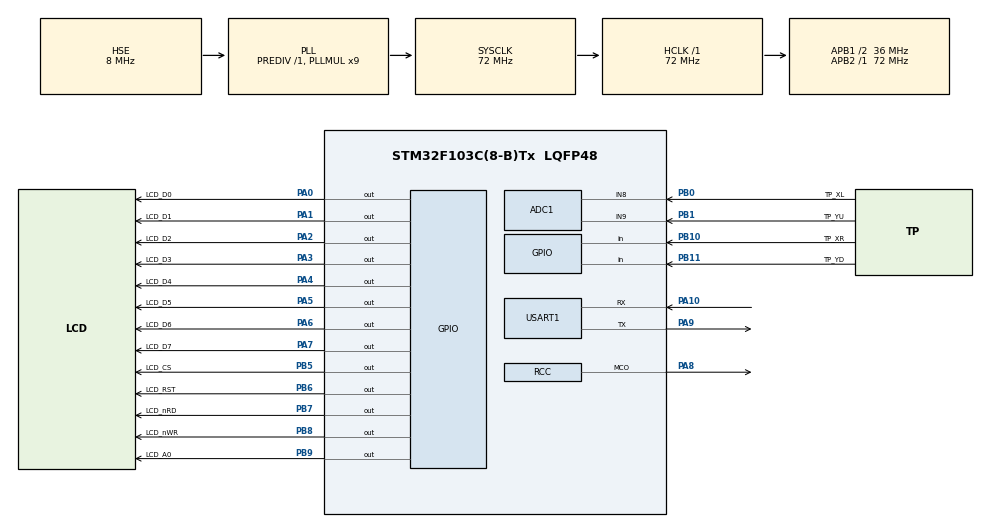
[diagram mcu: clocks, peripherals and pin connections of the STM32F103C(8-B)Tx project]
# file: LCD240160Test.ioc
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ADC1.Channel-6\#ChannelRegularConversion=ADC_CHANNEL_8
ADC1.Channel-7\#ChannelRegularConversion=ADC_CHANNEL_9
ADC1.ContinuousConvMode=ENABLE
ADC1.InjNumberOfConversion=0
ADC1.NbrOfConversion=2
ADC1.NbrOfConversionFlag=1
ADC1.Rank-6\#ChannelRegularConversion=1
ADC1.Rank-7\#ChannelRegularConversion=2
ADC1.SamplingTime-6\#ChannelRegularConversion=ADC_SAMPLETIME_239CYCLES_5
ADC1.SamplingTime-7\#ChannelRegularConversion=ADC_SAMPLETIME_239CYCLES_5
ADC1.master=1
Dma.ADC1.0.Direction=DMA_PERIPH_TO_MEMORY
Dma.ADC1.0.Instance=DMA1_Channel1
Dma.ADC1.0.MemDataAlignment=DMA_MDATAALIGN_HALFWORD
Dma.ADC1.0.MemInc=DMA_MINC_ENABLE
Dma.ADC1.0.Mode=DMA_CIRCULAR
Dma.ADC1.0.PeriphDataAlignment=DMA_PDATAALIGN_HALFWORD
Dma.ADC1.0.PeriphInc=DMA_PINC_DISABLE
Dma.ADC1.0.Priority=DMA_PRIORITY_LOW
Dma.Request0=ADC1
Mcu.Family=STM32F1
Mcu.Name=STM32F103C(8-B)Tx
Mcu.Package=LQFP48
NVIC.DMA1_Channel1_IRQn=true\:0\:0\:false\:false\:true\:false
NVIC.PriorityGroup=NVIC_PRIORITYGROUP_4
PA0-WKUP.GPIO_Label=LCD_D0
PA0-WKUP.GPIO_Speed=GPIO_SPEED_FREQ_HIGH
PA0-WKUP.Signal=GPIO_Output
PA1.GPIO_Label=LCD_D1
PA1.GPIO_Speed=GPIO_SPEED_FREQ_HIGH
PA1.Signal=GPIO_Output
PA10.Mode=Asynchronous
PA10.Signal=USART1_RX
PA13.Mode=Serial_Wire
PA13.Signal=SYS_JTMS-SWDIO
PA14.Mode=Serial_Wire
PA14.Signal=SYS_JTCK-SWCLK
PA2.GPIO_Label=LCD_D2
PA2.GPIO_Speed=GPIO_SPEED_FREQ_HIGH
PA2.Signal=GPIO_Output
PA3.GPIO_Label=LCD_D3
PA3.GPIO_Speed=GPIO_SPEED_FREQ_HIGH
PA3.Signal=GPIO_Output
PA4.GPIO_Label=LCD_D4
PA4.GPIO_Speed=GPIO_SPEED_FREQ_HIGH
PA4.Signal=GPIO_Output
PA5.GPIO_Label=LCD_D5
PA5.GPIO_Speed=GPIO_SPEED_FREQ_HIGH
PA5.Signal=GPIO_Output
PA6.GPIO_Label=LCD_D6
PA6.GPIO_Speed=GPIO_SPEED_FREQ_HIGH
PA6.Signal=GPIO_Output
PA7.GPIO_Label=LCD_D7
PA7.GPIO_Speed=GPIO_SPEED_FREQ_HIGH
PA7.Signal=GPIO_Output
PA8.Mode=Clock-out
PA8.Signal=RCC_MCO
PA9.Mode=Asynchronous
PA9.Signal=USART1_TX
PB0.GPIO_Label=TP_XL
PB0.Signal=SharedAnalog_PB0
PB1.GPIO_Label=TP_YU
PB1.Signal=SharedAnalog_PB1
PB10.GPIO_Label=TP_XR
PB10.Signal=GPIO_Input
PB11.GPIO_Label=TP_YD
PB11.Signal=GPIO_Input
PB5.GPIO_Label=LCD_CS
PB5.GPIO_Speed=GPIO_SPEED_FREQ_HIGH
PB5.Signal=GPIO_Output
PB6.GPIO_Label=LCD_RST
PB6.GPIO_Speed=GPIO_SPEED_FREQ_HIGH
PB6.Signal=GPIO_Output
PB7.GPIO_Label=LCD_nRD
PB7.GPIO_Speed=GPIO_SPEED_FREQ_HIGH
PB7.Signal=GPIO_Output
PB8.GPIO_Label=LCD_nWR
PB8.GPIO_Speed=GPIO_SPEED_FREQ_HIGH
PB8.Signal=GPIO_Output
PB9.GPIO_Label=LCD_A0
PB9.GPIO_Speed=GPIO_SPEED_FREQ_HIGH
PB9.Signal=GPIO_Output
PC14-OSC32_IN.Mode=LSE-External-Oscillator
PC14-OSC32_IN.Signal=RCC_OSC32_IN
PC15-OSC32_OUT.Mode=LSE-External-Oscillator
PC15-OSC32_OUT.Signal=RCC_OSC32_OUT
PD0-OSC_IN.Mode=HSE-External-Oscillator
PD0-OSC_IN.Signal=RCC_OSC_IN
PD1-OSC_OUT.Mode=HSE-External-Oscillator
PD1-OSC_OUT.Signal=RCC_OSC_OUT
ProjectManager.HeapSize=0x200
ProjectManager.StackSize=0x400
ProjectManager.TargetToolchain=TrueSTUDIO
RCC.ADCPresc=RCC_ADCPCLK2_DIV6
RCC.AHBFreq_Value=72000000
RCC.APB1CLKDivider=RCC_HCLK_DIV2
RCC.APB1Freq_Value=36000000
RCC.APB1TimFreq_Value=72000000
RCC.APB2Freq_Value=72000000
RCC.APB2TimFreq_Value=72000000
RCC.HCLKFreq_Value=72000000
RCC.PLLMUL=RCC_PLL_MUL9
RCC.PLLSourceVirtual=RCC_PLLSOURCE_HSE
RCC.RCC_MCOSource=RCC_MCO1SOURCE_PLLCLK
RCC.SYSCLKFreq_VALUE=72000000
RCC.SYSCLKSource=RCC_SYSCLKSOURCE_PLLCLK
RCC.USBFreq_Value=72000000
SH.SharedAnalog_PB0.0=GPIO_Analog
SH.SharedAnalog_PB0.1=ADC1_IN8,IN8
SH.SharedAnalog_PB1.0=GPIO_Analog
SH.SharedAnalog_PB1.1=ADC1_IN9,IN9
USART1.VirtualMode=VM_ASYNC
board=custom

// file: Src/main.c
/* USER CODE BEGIN Header */
/**
  ******************************************************************************
  * @file           : main.c
  * @brief          : Main program body
  ******************************************************************************
  ** This notice applies to any and all portions of this file
  * that are not between comment pairs USER CODE BEGIN and
  * USER CODE END. Other portions of this file, whether
  * inserted by the user or by software development tools
  * are owned by their respective copyright owners.
  *
  * COPYRIGHT(c) 2018 STMicroelectronics
  *
  * Redistribution and use in source and binary forms, with or without modification,
  * are permitted provided that the following conditions are met:
  *   1. Redistributions of source code must retain the above copyright notice,
  *      this list of conditions and the following disclaimer.
  *   2. Redistributions in binary form must reproduce the above copyright notice,
  *      this list of conditions and the following disclaimer in the documentation
  *      and/or other materials provided with the distribution.
  *   3. Neither the name of STMicroelectronics nor the names of its contributors
  *      may be used to endorse or promote products derived from this software
  *      without specific prior written permission.
  *
  * THIS SOFTWARE IS PROVIDED BY THE COPYRIGHT HOLDERS AND CONTRIBUTORS "AS IS"
  * AND ANY EXPRESS OR IMPLIED WARRANTIES, INCLUDING, BUT NOT LIMITED TO, THE
  * IMPLIED WARRANTIES OF MERCHANTABILITY AND FITNESS FOR A PARTICULAR PURPOSE ARE
  * DISCLAIMED. IN NO EVENT SHALL THE COPYRIGHT HOLDER OR CONTRIBUTORS BE LIABLE
  * FOR ANY DIRECT, INDIRECT, INCIDENTAL, SPECIAL, EXEMPLARY, OR CONSEQUENTIAL
  * DAMAGES (INCLUDING, BUT NOT LIMITED TO, PROCUREMENT OF SUBSTITUTE GOODS OR
  * SERVICES; LOSS OF USE, DATA, OR PROFITS; OR BUSINESS INTERRUPTION) HOWEVER
  * CAUSED AND ON ANY THEORY OF LIABILITY, WHETHER IN CONTRACT, STRICT LIABILITY,
  * OR TORT (INCLUDING NEGLIGENCE OR OTHERWISE) ARISING IN ANY WAY OUT OF THE USE
  * OF THIS SOFTWARE, EVEN IF ADVISED OF THE POSSIBILITY OF SUCH DAMAGE.
  *
  ******************************************************************************
  */
/* USER CODE END Header */

#include "main.h"

/* USER CODE BEGIN Includes */

#include <stdio.h>

#include "lcd.h"
#include "touchpad.h"
#include "UI/UI.h"
#include "graphics.h"

/* USER CODE END Includes */

ADC_HandleTypeDef hadc1;
DMA_HandleTypeDef hdma_adc1;

UART_HandleTypeDef huart1;

void SystemClock_Config(void);
static void MX_GPIO_Init(void);
static void MX_DMA_Init(void);
static void MX_ADC1_Init(void);
static void MX_USART1_UART_Init(void);

int main(void)
{

  /* MCU Configuration--------------------------------------------------------*/

  /* Reset of all peripherals, Initializes the Flash interface and the Systick. */
  HAL_Init();

  /* Configure the system clock */
  SystemClock_Config();

  /* Initialize all configured peripherals */
  MX_GPIO_Init();
  MX_DMA_Init();
  MX_ADC1_Init();
  MX_USART1_UART_Init();
  /* USER CODE BEGIN 2 */

    LCD_Init();

//    LCD_DrawTestPattern();

    //  LCD_SetAddress(0, 0);
    //  LCD_WriteDisplayData(0b11100000);
    //  LCD_SetAddress(0, 1);
    //  LCD_WriteDisplayData(0b00011100);

    //  LCD_DrawTestPattern();

    //  Graphics_SetPixel(0, 0);
    //  Graphics_SetPixel(1, 0);

    //  LCD_DrawTestPattern();

    //  LCD_SetMonochromeMode(LCD_OFF);
    //
    //  LCD_SetAddress(10, 10);
    //  LCD_WriteCommand(0b00101100);
    //  LCD_WriteData(0xff);
    //  LCD_WriteData(0b01001001);
    //  LCD_WriteData(0b11111000);
    //
    //  LCD_SetAddress(20, 20);
    //  LCD_WriteDisplayData(0xff);

      Touchpad_Init();

    UI_Init();

    printf("Initialized\r\n");

  /* USER CODE END 2 */

  /* Infinite loop */
  /* USER CODE BEGIN WHILE */
    while (1)
    {
        uint8_t tpX, tpY;
        bool tpPressed;

        if (Touchpad_Task(&tpX, &tpY, &tpPressed))
        {
#if 0
            if (tpPressed)
                Graphics_DrawCursor(tpX, tpY);
#endif

            UI_SendTouchEvent(tpX, tpY, tpPressed);
        }

        UI_Task();
    /* USER CODE END WHILE */

    }
}

void SystemClock_Config(void)
{
  RCC_OscInitTypeDef RCC_OscInitStruct = {0};
  RCC_ClkInitTypeDef RCC_ClkInitStruct = {0};
  RCC_PeriphCLKInitTypeDef PeriphClkInit = {0};

  /**Initializes the CPU, AHB and APB busses clocks
  */
  RCC_OscInitStruct.OscillatorType = RCC_OSCILLATORTYPE_HSE;
  RCC_OscInitStruct.HSEState = RCC_HSE_ON;
  RCC_OscInitStruct.HSEPredivValue = RCC_HSE_PREDIV_DIV1;
  RCC_OscInitStruct.HSIState = RCC_HSI_ON;
  RCC_OscInitStruct.PLL.PLLState = RCC_PLL_ON;
  RCC_OscInitStruct.PLL.PLLSource = RCC_PLLSOURCE_HSE;
  RCC_OscInitStruct.PLL.PLLMUL = RCC_PLL_MUL9;
  if (HAL_RCC_OscConfig(&RCC_OscInitStruct) != HAL_OK)
  {
    Error_Handler();
  }
  /**Initializes the CPU, AHB and APB busses clocks
  */
  RCC_ClkInitStruct.ClockType = RCC_CLOCKTYPE_HCLK|RCC_CLOCKTYPE_SYSCLK
                              |RCC_CLOCKTYPE_PCLK1|RCC_CLOCKTYPE_PCLK2;
  RCC_ClkInitStruct.SYSCLKSource = RCC_SYSCLKSOURCE_PLLCLK;
  RCC_ClkInitStruct.AHBCLKDivider = RCC_SYSCLK_DIV1;
  RCC_ClkInitStruct.APB1CLKDivider = RCC_HCLK_DIV2;
  RCC_ClkInitStruct.APB2CLKDivider = RCC_HCLK_DIV1;

  if (HAL_RCC_ClockConfig(&RCC_ClkInitStruct, FLASH_LATENCY_2) != HAL_OK)
  {
    Error_Handler();
  }
  PeriphClkInit.PeriphClockSelection = RCC_PERIPHCLK_ADC;
  PeriphClkInit.AdcClockSelection = RCC_ADCPCLK2_DIV6;
  if (HAL_RCCEx_PeriphCLKConfig(&PeriphClkInit) != HAL_OK)
  {
    Error_Handler();
  }
  HAL_RCC_MCOConfig(RCC_MCO, RCC_MCO1SOURCE_PLLCLK, RCC_MCODIV_1);
}

static void MX_ADC1_Init(void)
{

  ADC_ChannelConfTypeDef sConfig = {0};

  /**Common config
  */
  hadc1.Instance = ADC1;
  hadc1.Init.ScanConvMode = ADC_SCAN_ENABLE;
  hadc1.Init.ContinuousConvMode = ENABLE;
  hadc1.Init.DiscontinuousConvMode = DISABLE;
  hadc1.Init.ExternalTrigConv = ADC_SOFTWARE_START;
  hadc1.Init.DataAlign = ADC_DATAALIGN_RIGHT;
  hadc1.Init.NbrOfConversion = 2;
  if (HAL_ADC_Init(&hadc1) != HAL_OK)
  {
    Error_Handler();
  }
  /**Configure Regular Channel
  */
  sConfig.Channel = ADC_CHANNEL_8;
  sConfig.Rank = ADC_REGULAR_RANK_1;
  sConfig.SamplingTime = ADC_SAMPLETIME_239CYCLES_5;
  if (HAL_ADC_ConfigChannel(&hadc1, &sConfig) != HAL_OK)
  {
    Error_Handler();
  }
  /**Configure Regular Channel
  */
  sConfig.Channel = ADC_CHANNEL_9;
  sConfig.Rank = ADC_REGULAR_RANK_2;
  if (HAL_ADC_ConfigChannel(&hadc1, &sConfig) != HAL_OK)
  {
    Error_Handler();
  }

}

static void MX_USART1_UART_Init(void)
{

  huart1.Instance = USART1;
  huart1.Init.BaudRate = 115200;
  huart1.Init.WordLength = UART_WORDLENGTH_8B;
  huart1.Init.StopBits = UART_STOPBITS_1;
  huart1.Init.Parity = UART_PARITY_NONE;
  huart1.Init.Mode = UART_MODE_TX_RX;
  huart1.Init.HwFlowCtl = UART_HWCONTROL_NONE;
  huart1.Init.OverSampling = UART_OVERSAMPLING_16;
  if (HAL_UART_Init(&huart1) != HAL_OK)
  {
    Error_Handler();
  }

}

static void MX_DMA_Init(void)
{
  /* DMA controller clock enable */
  __HAL_RCC_DMA1_CLK_ENABLE();

  /* DMA interrupt init */
  /* DMA1_Channel1_IRQn interrupt configuration */
  HAL_NVIC_SetPriority(DMA1_Channel1_IRQn, 0, 0);
  HAL_NVIC_EnableIRQ(DMA1_Channel1_IRQn);

}

static void MX_GPIO_Init(void)
{
  GPIO_InitTypeDef GPIO_InitStruct = {0};

  /* GPIO Ports Clock Enable */
  __HAL_RCC_GPIOC_CLK_ENABLE();
  __HAL_RCC_GPIOD_CLK_ENABLE();
  __HAL_RCC_GPIOA_CLK_ENABLE();
  __HAL_RCC_GPIOB_CLK_ENABLE();

  /*Configure GPIO pin Output Level */
  HAL_GPIO_WritePin(GPIOA, LCD_D0_Pin|LCD_D1_Pin|LCD_D2_Pin|LCD_D3_Pin
                          |LCD_D4_Pin|LCD_D5_Pin|LCD_D6_Pin|LCD_D7_Pin, GPIO_PIN_RESET);

  /*Configure GPIO pin Output Level */
  HAL_GPIO_WritePin(GPIOB, LCD_CS_Pin|LCD_RST_Pin|LCD_nRD_Pin|LCD_nWR_Pin
                          |LCD_A0_Pin, GPIO_PIN_RESET);

  /*Configure GPIO pins : LCD_D0_Pin LCD_D1_Pin LCD_D2_Pin LCD_D3_Pin
                           LCD_D4_Pin LCD_D5_Pin LCD_D6_Pin LCD_D7_Pin */
  GPIO_InitStruct.Pin = LCD_D0_Pin|LCD_D1_Pin|LCD_D2_Pin|LCD_D3_Pin
                          |LCD_D4_Pin|LCD_D5_Pin|LCD_D6_Pin|LCD_D7_Pin;
  GPIO_InitStruct.Mode = GPIO_MODE_OUTPUT_PP;
  GPIO_InitStruct.Pull = GPIO_NOPULL;
  GPIO_InitStruct.Speed = GPIO_SPEED_FREQ_HIGH;
  HAL_GPIO_Init(GPIOA, &GPIO_InitStruct);

  /*Configure GPIO pins : TP_XL_Pin TP_YU_Pin */
  GPIO_InitStruct.Pin = TP_XL_Pin|TP_YU_Pin;
  GPIO_InitStruct.Mode = GPIO_MODE_ANALOG;
  HAL_GPIO_Init(GPIOB, &GPIO_InitStruct);

  /*Configure GPIO pins : TP_XR_Pin TP_YD_Pin */
  GPIO_InitStruct.Pin = TP_XR_Pin|TP_YD_Pin;
  GPIO_InitStruct.Mode = GPIO_MODE_INPUT;
  GPIO_InitStruct.Pull = GPIO_NOPULL;
  HAL_GPIO_Init(GPIOB, &GPIO_InitStruct);

  /*Configure GPIO pin : PA8 */
  GPIO_InitStruct.Pin = GPIO_PIN_8;
  GPIO_InitStruct.Mode = GPIO_MODE_AF_PP;
  GPIO_InitStruct.Speed = GPIO_SPEED_FREQ_LOW;
  HAL_GPIO_Init(GPIOA, &GPIO_InitStruct);

  /*Configure GPIO pins : LCD_CS_Pin LCD_RST_Pin LCD_nRD_Pin LCD_nWR_Pin
                           LCD_A0_Pin */
  GPIO_InitStruct.Pin = LCD_CS_Pin|LCD_RST_Pin|LCD_nRD_Pin|LCD_nWR_Pin
                          |LCD_A0_Pin;
  GPIO_InitStruct.Mode = GPIO_MODE_OUTPUT_PP;
  GPIO_InitStruct.Pull = GPIO_NOPULL;
  GPIO_InitStruct.Speed = GPIO_SPEED_FREQ_HIGH;
  HAL_GPIO_Init(GPIOB, &GPIO_InitStruct);

}

void Error_Handler(void)
{
}

/************************ (C) COPYRIGHT STMicroelectronics *****END OF FILE****/
